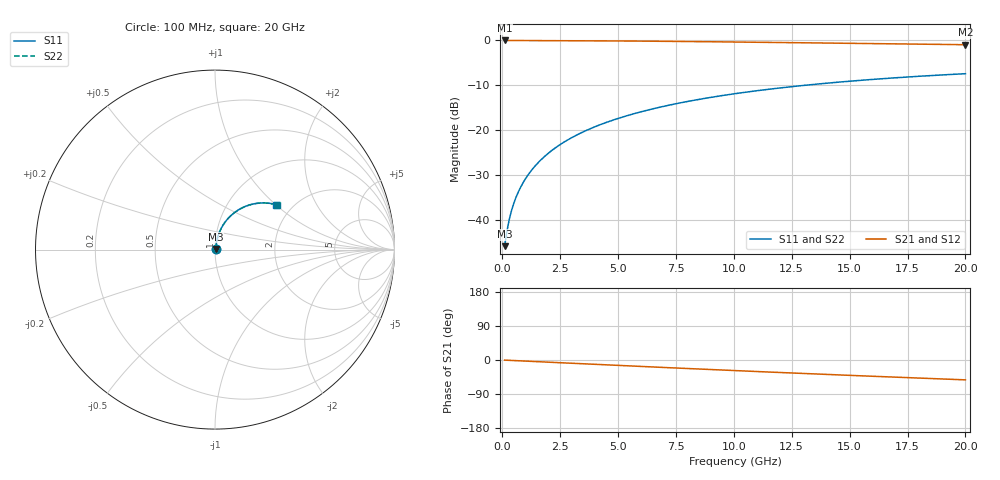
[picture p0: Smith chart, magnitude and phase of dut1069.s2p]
! Touchstone file exported from HFSS 2026.1.0
!  File:  C:/ffzhzh/LocalFiles/Ansys_Project_Files/temp_train_BSMRDL_1069_1783174250_18472.aedt
!  Generated:  10:12:04 PM Jul  4, 2026
!  Design:  BSMRDL
!  Project:  temp_train_BSMRDL_1069_1783174250_18472
! Variables:
!  h_bsmrdl = 3.07um
!  h_ox = 20um
!  h_rdl = 5um
!  h_sub = 80um
!  h_tmrdl = 5um
!  h_tsv = 80um
!  h_via = 3um
!  l_bsmrdl = 806.98um
!  l_sub = 1206.98um
!  l_tmrdl = 200um
!  m_sub = 200um
!  pitch = 49.45um
!  r_tsv = 6um
!  s_tmrdl = 10um
!  w_bsmrdl = 24.78um
!  w_sub = 500um
!  w_tmrdl = 12um
!  x_tsv_center1 = 206um
!  x_tsv_center2 = 1037.76um
!  x_tsv_center3 = 1249.76um
!  x_tsv_center4 = 2081.52um
!  x_tsv_center5 = 2293.52um
!  x_tsv_center6 = 3125.28um
# GHz S MA R 50.000000
! Terminal data exported
! Port[1] = BSM_RDL1_1_T1
! Port[2] = BSM_RDL1_1_T2
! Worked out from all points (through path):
!   200 points, 100 MHz to 20 GHz, reference 50 ohm
!   highest |S21| = -0.03 dB at 100 MHz (marker M1); lowest = -1.0 dB at 20 GHz (marker M2)
!   group delay of S21, straight-line fit = 7.28 ps
!   lowest |S11| = -46.0 dB at 100 MHz (marker M3), VSWR 1.01, Z = 50.4 + j0.309 ohm
!   |S11| at or under -10 dB: start of sweep to 13.15 GHz
!   |S22| runs from -46.0 to -7.5 dB; largest |S21 - S12| = 3.6e-15
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0.1  0.00504 37.4  0.996 -0.3  0.996 -0.3  0.00504 37.4
! Gamma 0 0 0 0
! Port Impedance 50 0 50 0
0.2  0.007378 54.9  0.9958 -0.6  0.9958 -0.6  0.007378 54.9
0.3  0.009983 62.8  0.9955 -0.9  0.9955 -0.9  0.009983 62.8
0.4  0.01262 67.3  0.9953 -1.2  0.9953 -1.2  0.01262 67.3
0.5  0.01525 70.2  0.9951 -1.5  0.9951 -1.5  0.01525 70.1
0.6  0.01788 72.2  0.9949 -1.8  0.9949 -1.8  0.01788 72.2
0.8  0.02314 74.8  0.9946 -2.3  0.9946 -2.3  0.02314 74.8
1.1  0.03111 77.0  0.9943 -3.2  0.9943 -3.2  0.03111 77.0
1.3  0.03645 77.7  0.994 -3.8  0.994 -3.8  0.03645 77.7
1.6  0.04449 78.3  0.9936 -4.6  0.9936 -4.6  0.04449 78.2
2.1  0.05792 78.3  0.9927 -6.0  0.9927 -6.0  0.05792 78.3
2.7  0.07399 77.7  0.9914 -7.8  0.9914 -7.8  0.07399 77.6
3.5  0.09524 76.2  0.9892 -10.0  0.9892 -10.0  0.09524 76.2
4.2  0.1136 74.7  0.9869 -12.0  0.9869 -12.0  0.1136 74.6
5  0.1342 72.7  0.9839 -14.3  0.9839 -14.3  0.1342 72.7
5.9  0.157 70.5  0.98 -16.8  0.98 -16.8  0.157 70.4
6.8  0.1791 68.2  0.9757 -19.2  0.9757 -19.2  0.1791 68.1
8.3  0.2146 64.3  0.9677 -23.3  0.9677 -23.3  0.2146 64.3
10.1  0.2548 59.7  0.957 -28.1  0.957 -28.1  0.2548 59.6
13.4  0.321 51.5  0.9358 -36.6  0.9358 -36.6  0.321 51.4
16.7  0.3773 43.6  0.914 -44.7  0.914 -44.7  0.3773 43.5
20  0.4238 36.1  0.8932 -52.4  0.8932 -52.4  0.4238 35.9
